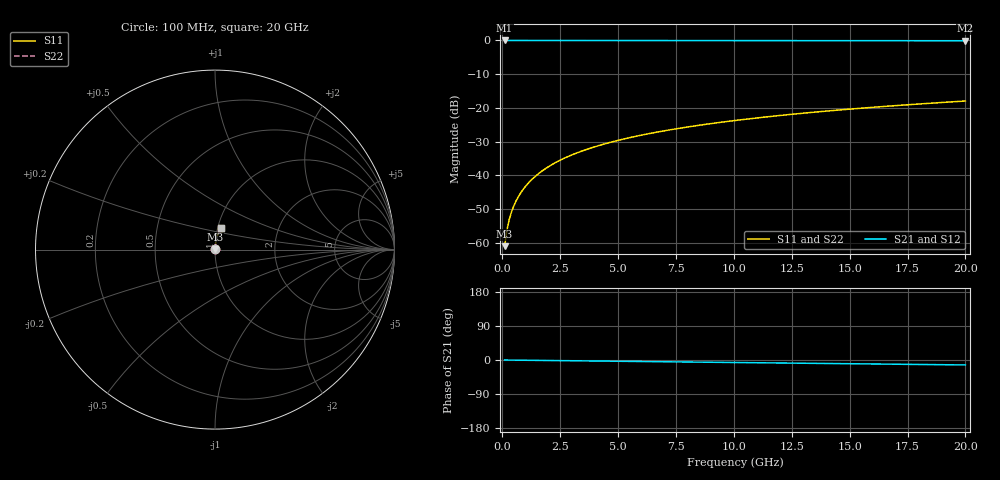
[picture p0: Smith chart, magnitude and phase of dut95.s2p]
! Touchstone file exported from HFSS 2026.1.0
!  File:  C:/ffzhzh/LocalFiles/Ansys_Project_Files/temp_train_BSMRDL_95_1782883301_46784.aedt
!  Generated:  01:22:54 PM Jul  1, 2026
!  Design:  BSMRDL
!  Project:  temp_train_BSMRDL_95_1782883301_46784
! Variables:
!  h_bsmrdl = 5.74um
!  h_ox = 20um
!  h_rdl = 5um
!  h_sub = 80um
!  h_tmrdl = 5um
!  h_tsv = 80um
!  h_via = 3um
!  l_bsmrdl = 155.16um
!  l_sub = 555.16um
!  l_tmrdl = 200um
!  m_sub = 200um
!  pitch = 55.54um
!  r_tsv = 6um
!  s_tmrdl = 10um
!  w_bsmrdl = 26.69um
!  w_sub = 500um
!  w_tmrdl = 12um
!  x_tsv_center1 = 206um
!  x_tsv_center2 = 387.85um
!  x_tsv_center3 = 599.85um
!  x_tsv_center4 = 781.7um
!  x_tsv_center5 = 993.7um
!  x_tsv_center6 = 1175.55um
# GHz S MA R 50.000000
! Terminal data exported
! Port[1] = BSM_RDL1_1_T1
! Port[2] = BSM_RDL1_1_T2
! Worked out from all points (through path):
!   200 points, 100 MHz to 20 GHz, reference 50 ohm
!   highest |S21| = 0.00 dB at 100 MHz (marker M1); lowest = -0.1 dB at 20 GHz (marker M2)
!   group delay of S21, straight-line fit = 1.81 ps
!   lowest |S11| = -61.0 dB at 100 MHz (marker M3), VSWR 1.00, Z = 50.1 + j0.0729 ohm
!   |S11| at or under -10 dB: start of sweep to end of sweep
!   |S22| runs from -61.0 to -18.0 dB; largest |S21 - S12| = 4.3e-15
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0.1  0.0008893 54.9  0.9995 -0.1  0.9995 -0.1  0.0008893 54.9
! Gamma 0 0 0 0
! Port Impedance 50 0 50 0
0.2  0.00154 69.1  0.9995 -0.1  0.9995 -0.1  0.00154 69.1
0.3  0.002211 74.4  0.9994 -0.2  0.9994 -0.2  0.002211 74.4
0.4  0.002878 77.2  0.9994 -0.3  0.9994 -0.3  0.002878 77.2
0.5  0.003539 79.0  0.9993 -0.3  0.9993 -0.3  0.003539 79.0
0.7  0.004858 81.2  0.9993 -0.5  0.9993 -0.5  0.004858 81.2
0.8  0.005518 82.0  0.9992 -0.5  0.9992 -0.5  0.005518 82.0
1  0.006839 83.0  0.9992 -0.7  0.9992 -0.7  0.006839 83.0
1.2  0.008163 83.7  0.9992 -0.8  0.9992 -0.8  0.008163 83.7
1.4  0.009487 84.1  0.9991 -0.9  0.9991 -0.9  0.009487 84.1
1.7  0.01147 84.5  0.999 -1.1  0.999 -1.1  0.01147 84.5
2  0.01346 84.7  0.999 -1.3  0.999 -1.3  0.01346 84.7
2.7  0.01806 84.8  0.9988 -1.8  0.9988 -1.8  0.01806 84.8
3.5  0.02329 84.7  0.9985 -2.3  0.9985 -2.3  0.02329 84.7
4.2  0.02782 84.4  0.9983 -2.8  0.9983 -2.8  0.02782 84.4
5  0.03297 84.0  0.9979 -3.3  0.9979 -3.3  0.03297 84.0
6.8  0.04446 83.1  0.9972 -4.5  0.9972 -4.5  0.04446 83.1
8.3  0.05396 82.3  0.9965 -5.5  0.9965 -5.5  0.05396 82.3
10.1  0.0653 81.4  0.9956 -6.7  0.9956 -6.7  0.0653 81.4
13.4  0.08593 79.5  0.9937 -8.8  0.9937 -8.8  0.08593 79.5
16.7  0.1063 77.5  0.9915 -10.9  0.9915 -10.9  0.1063 77.5
20  0.1263 75.5  0.9888 -13.1  0.9888 -13.1  0.1263 75.5
